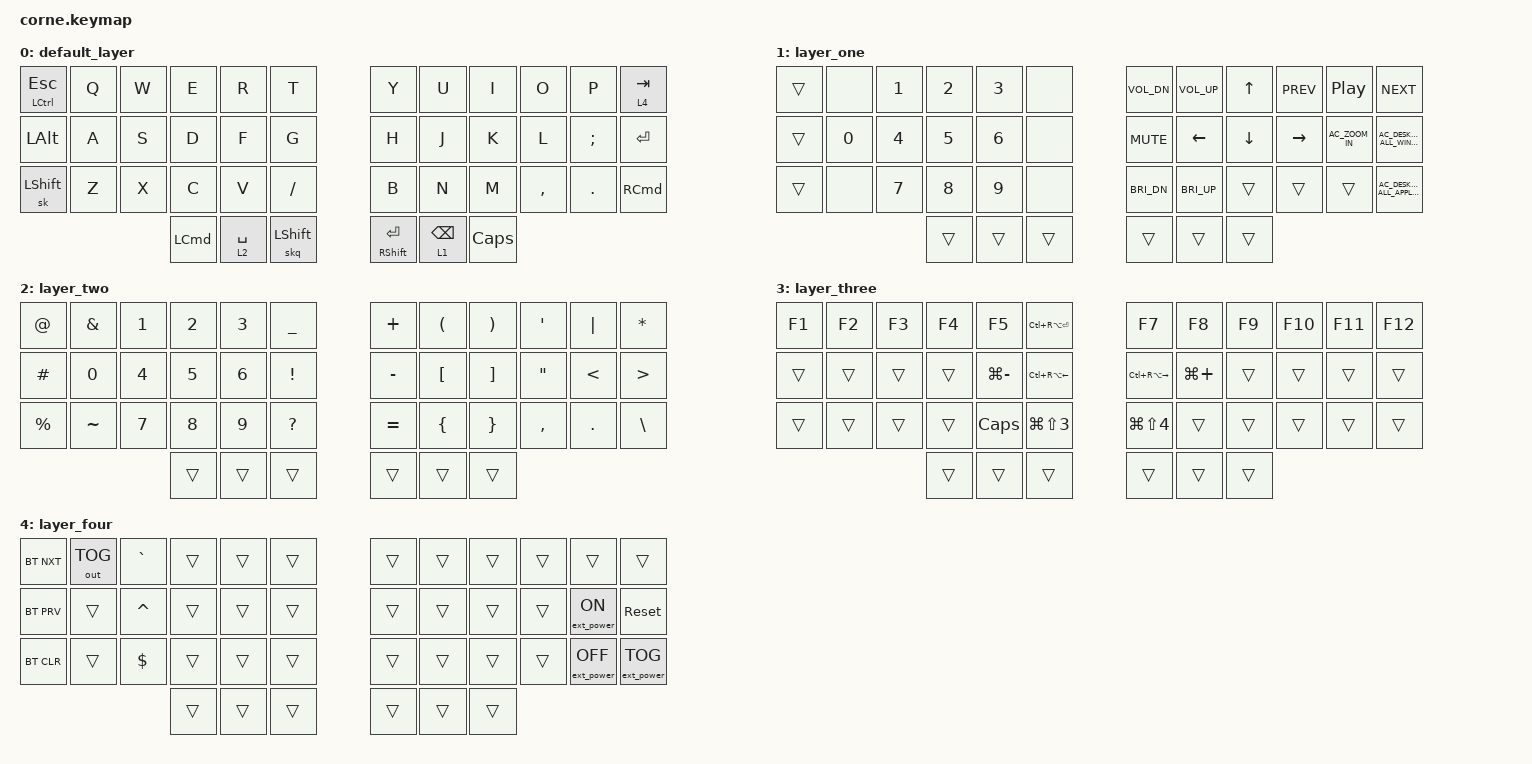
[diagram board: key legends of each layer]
/*
 * Copyright (c) 2020 The ZMK Contributors
 *
 * SPDX-License-Identifier: MIT
 */

#include <behaviors.dtsi>
#include <dt-bindings/zmk/keys.h>
#include <dt-bindings/zmk/bt.h>
#include <dt-bindings/zmk/ext_power.h>
#include <dt-bindings/zmk/outputs.h>




/ {
        conditional_layers {
        compatible = "zmk,conditional-layers";
        layer_three {
                if-layers = <1 2>;
                then-layer = <3>;
                };
        };

        behaviors {
                gqt: global-quick-tap {
                compatible = "zmk,behavior-hold-tap";
                label = "GLOBAL_QUICK_TAP";
                #binding-cells = <2>;
                flavor = "tap-preferred";
                tapping-term-ms = <200>;
                quick-tap-ms = <70>;
                global-quick-tap;
                bindings = <&mo>, <&kp>;
                };

                skq: sticky_key_quick_release {
                        compatible = "zmk,behavior-sticky-key";
                        #binding-cells = <1>;
                        bindings = <&kp>;
                        release-after-ms = <1000>;
                        quick-release;
                        ignore-modifiers;
                        };
        };

 };
 

// ADD TAP DANCE FOR SHIFT KEY THAT WHEN DOUBLE TAPPED TURNS INTO CAPS
/{
        keymap {
                compatible = "zmk,keymap";

                default_layer {
                         bindings = <
   &mt LCTRL ESC    &kp Q  &kp W  &kp E  &kp R  &kp T           &kp Y  &kp U  &kp I  &kp O      &kp P      &lt 4 TAB      
   &kp LALT         &kp A  &kp S  &kp D  &kp F  &kp G           &kp H  &kp J  &kp K  &kp L      &kp SEMI   &kp RET
   &sk LSHFT        &kp Z  &kp X  &kp C  &kp V  &kp FSLH        &kp B  &kp N  &kp M  &kp COMMA  &kp DOT    &kp RCMD   
                         &kp LCMD  &gqt 2 SPACE &skq LSHFT      &mt RSHIFT RET   &gqt 1 BSPC  &kp CAPS                                  
                        >;                                                                                     
                };                                                                                                       

                layer_one {  
                        bindings = <
   &trans  &none   &kp N1  &kp N2  &kp N3  &none          &kp C_VOL_DN  &kp C_VOL_UP  &kp UP    &kp C_PREV      &kp C_PP           &kp C_NEXT 
   &trans  &kp N0  &kp N4  &kp N5  &kp N6  &none          &kp C_MUTE    &kp LEFT      &kp DOWN  &kp RIGHT       &kp C_AC_ZOOM_IN   &kp C_AC_DESKTOP_SHOW_ALL_WINDOWS
   &trans  &none   &kp N7  &kp N8  &kp N9  &none          &kp C_BRI_DN  &kp C_BRI_UP  &trans    &trans          &trans             &kp C_AC_DESKTOP_SHOW_ALL_APPLICATIONS
                             &trans  &trans   &trans         &trans  &trans  &trans    
                        >;
                };

                layer_two {
                        bindings = <
   &kp AT     &kp AMPS   &kp N1  &kp N2  &kp N3   &kp UNDER        &kp PLUS   &kp LPAR  &kp RPAR  &kp APOS   &kp PIPE  &kp STAR 
   &kp HASH   &kp N0     &kp N4  &kp N5  &kp N6   &kp EXCL         &kp MINUS  &kp LBKT  &kp RBKT  &kp DQT    &kp LT    &kp GT
   &kp PRCNT  &kp TILDE  &kp N7  &kp N8  &kp N9   &kp QMARK        &kp EQUAL  &kp LBRC  &kp RBRC  &kp COMMA  &kp DOT   &kp BSLH
                                 &trans  &trans   &trans           &trans     &trans    &trans
                        >;
                };

                layer_three {
                        bindings = <
   &kp F1  &kp F2    &kp F3   &kp F4   &kp F5         &kp LC(RA(RET))             &kp F7                 &kp F8       &kp F9  &kp F10  &kp F11  &kp F12
   &trans  &trans    &trans   &trans   &kp LG(MINUS)  &kp LC(RA(LEFT))            &kp LC(RA(RIGHT))      &kp LG(PLUS) &trans  &trans   &trans   &trans  
   &trans  &trans    &trans   &trans   &kp CAPS       &kp LG(LS(NUMBER_3))        &kp LG(LS(NUMBER_4))   &trans       &trans  &trans   &trans   &trans  
                              &trans   &trans         &trans                      &trans  &trans   &trans
                        >;
                }; 

                layer_four {
                        bindings = <
   &bt BT_NXT    &out OUT_TOG  &kp GRAVE   &trans   &trans   &trans       &trans  &trans   &trans   &trans   &trans             &trans 
   &bt BT_PRV    &trans        &kp CARET   &trans   &trans   &trans       &trans  &trans   &trans   &trans   &ext_power EP_ON   &sys_reset 
   &bt BT_CLR    &trans        &kp DLLR    &trans   &trans   &trans       &trans  &trans   &trans   &trans   &ext_power EP_OFF  &ext_power EP_TOG  
                                           &trans   &trans   &trans       &trans  &trans   &trans
                        >;
                };                           
        };
};


